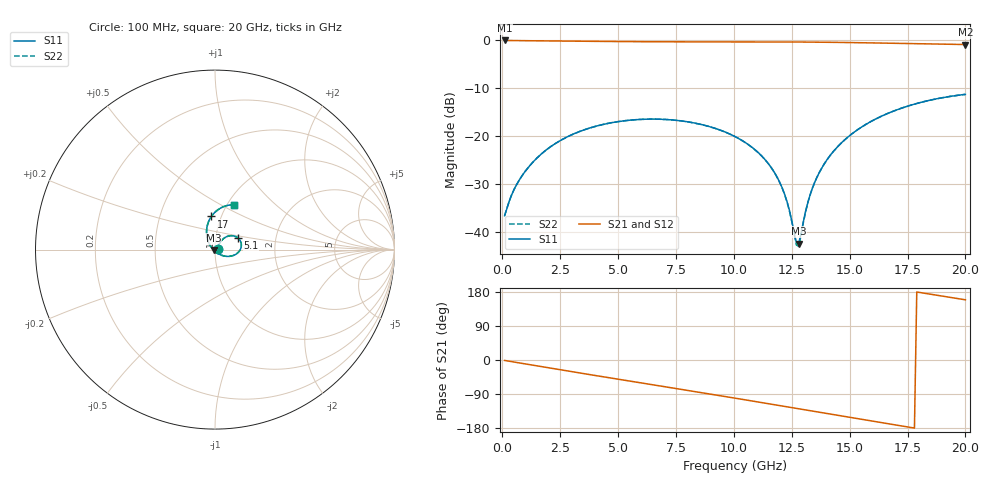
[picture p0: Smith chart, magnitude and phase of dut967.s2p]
! Touchstone file exported from HFSS 2026.1.0
!  File:  C:/ffzhzh/LocalFiles/Ansys_Project_Files/temp_train_TSV_RDL_967_1783285387_38704.aedt
!  Generated:  05:09:21 AM Jul  6, 2026
!  Design:  TSV_RDL
!  Project:  temp_train_TSV_RDL_967_1783285387_38704
! Variables:
!  h_bsmrdl = 3.32um
!  h_ox = 20um
!  h_rdl = 5um
!  h_sub = 56.93um
!  h_tmrdl = 4.52um
!  h_tsv = 56.93um
!  h_via = 3um
!  l_bsmrdl = 193.31um
!  l_sub = 3036.12um
!  l_tmrdl = 481.55um
!  m_sub = 200um
!  pitch = 31.93um
!  r_tsv = 13.36um
!  s_tmrdl = 10um
!  w_bsmrdl = 29.33um
!  w_sub = 500um
!  w_tmrdl = 14um
!  x_tsv_center1 = 488.55um
!  x_tsv_center2 = 711.19um
!  x_tsv_center3 = 1206.74um
!  x_tsv_center4 = 1429.38um
!  x_tsv_center5 = 1924.93um
!  x_tsv_center6 = 2147.57um
# GHz S MA R 50.000000
! Terminal data exported
! Port[1] = TM_RDL1_1_T1
! Port[2] = TM_RDL5_1_T1
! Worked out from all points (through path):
!   200 points, 100 MHz to 20 GHz, reference 50 ohm
!   highest |S21| = -0.12 dB at 100 MHz (marker M1); lowest = -1.0 dB at 20 GHz (marker M2)
!   group delay of S21, straight-line fit = 27.9 ps
!   lowest |S11| = -42.3 dB at 12.8 GHz (marker M3), VSWR 1.02, Z = 49.4 - j0.404 ohm
!   |S11| at or under -10 dB: start of sweep to end of sweep
!   |S22| runs from -42.9 to -11.3 dB; largest |S21 - S12| = 2.3e-14
!   S11 on the Smith chart (normalised r, x): 100 MHz: 1.03, +0.01; 5.1 GHz: 1.28, +0.17; 17 GHz: 0.90, +0.34; 20 GHz: 1.08, +0.58
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0.1  0.01488 18.9  0.986 -1.1  0.986 -1.1  0.01488 18.9
! Gamma 0 0 0 0
! Port Impedance 50 0 50 0
0.6  0.03074 48.1  0.9818 -6.4  0.9818 -6.4  0.03074 48.1
1.3  0.05291 54.3  0.9786 -13.5  0.9786 -13.5  0.0529 54.3
2.3  0.08394 51.1  0.9742 -23.7  0.9742 -23.7  0.08393 51.1
3.5  0.1154 42.1  0.9679 -35.8  0.9679 -35.8  0.1153 42.1
5.1  0.1425 27.7  0.9601 -51.6  0.9601 -51.6  0.1424 27.8
6.8  0.1497 11.6  0.9548 -68.4  0.9548 -68.4  0.1497 11.7
8.6  0.1319 -6.1  0.9531 -86.2  0.9531 -86.2  0.1318 -5.9
10.1  0.09748 -21.8  0.9532 -101.1  0.9532 -101.1  0.09741 -21.6
11.1  0.06573 -33.8  0.953 -111.3  0.953 -111.3  0.06564 -33.4
11.8  0.04007 -44.9  0.9522 -118.4  0.9522 -118.4  0.03994 -44.3
12.2  0.02458 -55.8  0.9515 -122.5  0.9515 -122.5  0.02439 -54.8
12.4  0.01691 -66.3  0.9511 -124.5  0.9511 -124.5  0.01666 -64.9
12.7  0.00785 -114.4  0.9502 -127.6  0.9502 -127.6  0.007376 -113.6
12.8  0.007636 -147.6  0.9499 -128.6  0.9499 -128.6  0.007174 -148.9
13.1  0.01657 159.4  0.9489 -131.7  0.9489 -131.7  0.0164 157.7
13.4  0.02907 144.5  0.9476 -134.8  0.9476 -134.8  0.029 143.5
13.9  0.05119 133.1  0.9452 -140.0  0.9452 -140.0  0.05117 132.5
14.6  0.0829 122.8  0.9409 -147.2  0.9409 -147.2  0.0829 122.5
16.7  0.1741 99.3  0.9231 -168.6  0.9231 -168.6  0.1742 99.1
17  0.1859 96.2  0.9202 -171.6  0.9202 -171.6  0.1859 96.0
20  0.2713 66.9  0.8944 158.9  0.8944 158.9  0.2713 66.7
